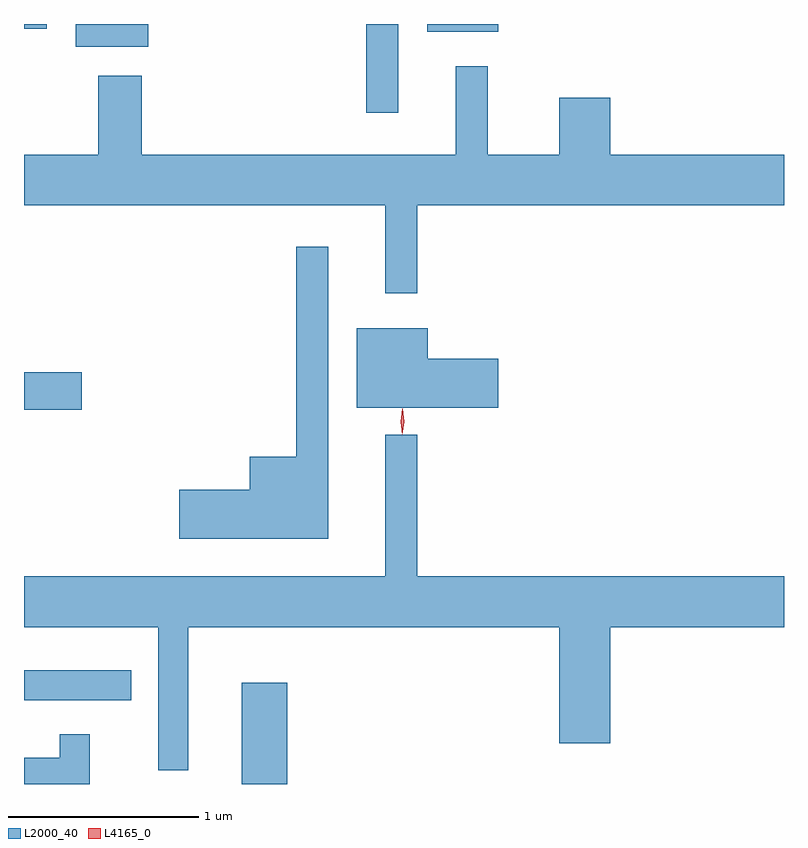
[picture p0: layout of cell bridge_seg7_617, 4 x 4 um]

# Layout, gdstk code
import gdstk
lib = gdstk.Library(unit=1e-6, precision=1e-09)
def R(c, l, rs):  # rectangles x0, y0, x1, y1
    for r in rs: c.add(gdstk.rectangle(r[:2], r[2:], *l))
def P(c, l, *ps):  # polygons
    for p in ps: c.add(gdstk.Polygon(p, *l))
L2000_40 = (2000, 40)
L4165_0 = (4165, 0)

bridge_seg7_617 = lib.new_cell('bridge_seg7_617')
R(bridge_seg7_617, L2000_40, [(812.806,1704.611,813.044,1705.144), (811.659,1705.051,812.223,1705.209), (811.659,1706.581,811.964,1706.779), (813.461,1708.143,813.629,1708.611), (811.931,1708.491,812.314,1708.611), (813.781,1708.571,814.154,1708.611), (811.659,1708.586,811.779,1708.611)])
P(bridge_seg7_617, L2000_40, [(813.729,1707.656),(815.659,1707.656),(815.659,1707.924),(814.744,1707.924),(814.744,1708.224),(814.476,1708.224),(814.476,1707.924),(814.099,1707.924),(814.099,1708.388),(813.931,1708.388),(813.931,1707.924),(812.279,1707.924),(812.279,1708.339),(812.051,1708.339),(812.051,1707.924),(811.659,1707.924),(811.659,1707.656),(813.561,1707.656),(813.561,1707.193),(813.729,1707.193)],
  [(813.259,1707.438),(813.091,1707.438),(813.091,1706.334),(812.846,1706.334),(812.846,1706.159),(812.476,1706.159),(812.476,1705.901),(813.259,1705.901)],
  [(814.154,1706.849),(813.784,1706.849),(813.784,1707.009),(813.411,1707.009),(813.411,1706.591),(814.154,1706.591)],
  [(812.524,1705.436),(814.476,1705.436),(814.476,1704.826),(814.744,1704.826),(814.744,1705.436),(815.659,1705.436),(815.659,1705.704),(813.729,1705.704),(813.729,1706.448),(813.561,1706.448),(813.561,1705.704),(811.659,1705.704),(811.659,1705.436),(812.366,1705.436),(812.366,1704.683),(812.524,1704.683)],
  [(812.004,1704.873),(811.846,1704.873),(811.846,1704.749),(811.659,1704.749),(811.659,1704.611),(812.004,1704.611)])
P(bridge_seg7_617, L4165_0, [(813.649,1706.45),(813.641,1706.518),(813.651,1706.586),(813.652,1706.586),(813.652,1706.586),(813.661,1706.518),(813.65,1706.45),(813.65,1706.45)],
  [(813.649,1706.453),(813.641,1706.516),(813.651,1706.579),(813.652,1706.58),(813.652,1706.579),(813.661,1706.516),(813.65,1706.453),(813.65,1706.453)])

lib.write_gds('bridge_seg7_617.gds')
